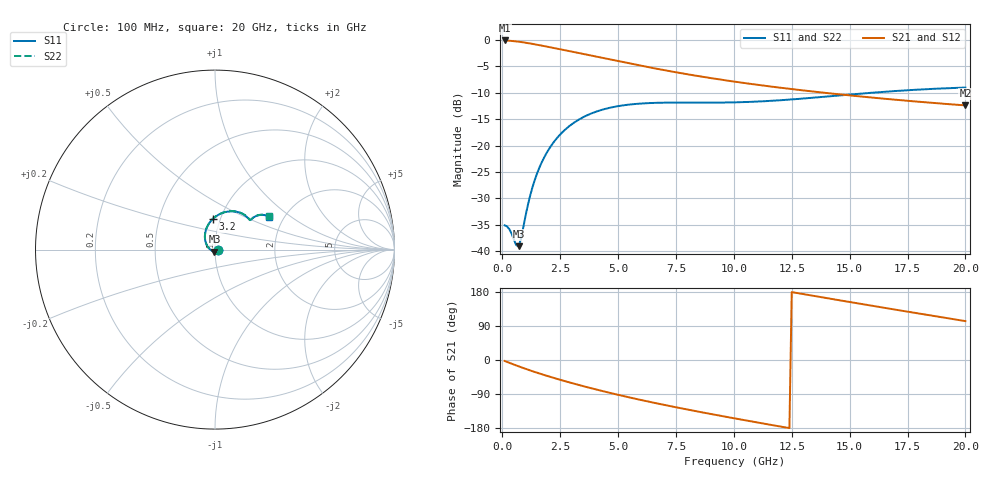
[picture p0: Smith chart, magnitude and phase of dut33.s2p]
! Touchstone file exported from HFSS 2024.1.0
!  File:  C:/UserFiles/LocalFiles/RDL_TSV_Batchsim/temp_RDL_TSV_33_1779402830.aedt
!  Generated:  06:50:06 AM May 22, 2026
!  Design:  RDL_TSV
!  Project:  temp_RDL_TSV_33_1779402830
!  Setup:  Setup1
!  Solution:  Sweep
! Variables:
!  dtsv = 14.07um
!  hbump = 3um
!  htsv = 87.42um
!  ldown = 285.91um
!  lrdl = 670.89um
!  p = 40
!  p1 = 56.87um
!  rhole = 10um
!  subl = 3541.29um
!  t = 450um
!  tdown = 3.41um
!  trdl = 3.19um
!  viad = 10um
!  wdown = 14.28um
!  wrdl = 26.36um
!  xbump = 18um
# GHz S MA R 50.000000
! Terminal data exported
! Port[1] = TM1_1_T1
! Port[2] = TM1_4_T1
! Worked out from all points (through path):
!   200 points, 100 MHz to 20 GHz, reference 50 ohm
!   highest |S21| = -0.16 dB at 100 MHz (marker M1); lowest = -12.4 dB at 20 GHz (marker M2)
!   group delay of S21, straight-line fit = 33.5 ps
!   lowest |S11| = -39.0 dB at 700 MHz (marker M3), VSWR 1.02, Z = 49.7 - j1.08 ohm
!   |S11| at or under -10 dB: start of sweep to 16.07 GHz
!   |S22| runs from -39.0 to -9.0 dB; largest |S21 - S12| = 9.7e-15
!   S11 on the Smith chart (normalised r, x): 100 MHz: 1.04, -0.00; 3.2 GHz: 0.92, +0.32; 20 GHz: 1.68, +0.70
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0.1  0.01765 -6.6  0.9814 -2.5  0.9814 -2.5  0.01765 -6.6
! Gamma 0 0 0 0
! Port Impedance 50 0 50 0
0.3  0.01628 -24.5  0.9758 -7.3  0.9758 -7.3  0.01627 -24.5
0.6  0.01148 -76.1  0.9616 -14.3  0.9616 -14.3  0.01147 -76.2
0.7  0.01121 -104.5  0.9556 -16.6  0.9556 -16.6  0.01122 -104.7
0.8  0.01294 -132.7  0.9492 -18.8  0.9492 -18.8  0.01297 -132.9
1.1  0.02715 178.1  0.9272 -25.3  0.9272 -25.3  0.02725 178.0
1.3  0.04014 161.6  0.9112 -29.5  0.9112 -29.5  0.04028 161.6
1.7  0.06909 139.9  0.8775 -37.5  0.8775 -37.5  0.06932 139.9
2  0.09145 127.9  0.8521 -43.2  0.8521 -43.2  0.09174 128.0
2.4  0.1202 114.8  0.8186 -50.5  0.8186 -50.5  0.1206 114.9
3.2  0.1701 94.5  0.7544 -64.2  0.7544 -64.2  0.1706 94.5
3.5  0.1854 88.3  0.7314 -69.1  0.7314 -69.1  0.186 88.3
4.2  0.2139 75.9  0.6802 -80.1  0.6802 -80.1  0.2147 76.0
5.1  0.2373 63.7  0.6197 -93.3  0.6197 -93.3  0.2382 63.8
5.9  0.2482 55.6  0.5715 -104.4  0.5715 -104.4  0.2493 55.6
6.8  0.2534 48.9  0.5239 -116.1  0.5239 -116.1  0.2545 49.0
8.3  0.2541 42.5  0.4585 -134.3  0.4585 -134.3  0.2553 42.5
10.1  0.2558 40.0  0.3988 -154.8  0.3988 -154.8  0.257 40.0
11.7  0.2648 39.9  0.3581 -172.3  0.3581 -172.3  0.2661 39.9
13.4  0.2824 39.8  0.3237 169.7  0.3237 169.7  0.2837 39.8
16.7  0.3237 36.7  0.2739 135.7  0.2739 135.7  0.3254 36.8
20  0.3523 31.3  0.2392 102.6  0.2392 102.6  0.3543 31.4
